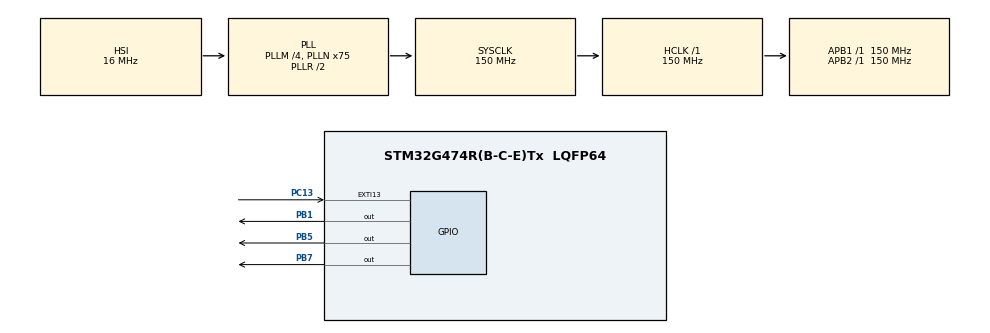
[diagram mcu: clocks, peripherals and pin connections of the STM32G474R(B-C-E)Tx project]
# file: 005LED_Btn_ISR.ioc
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Mcu.Family=STM32G4
Mcu.Name=STM32G474R(B-C-E)Tx
Mcu.Package=LQFP64
NVIC.EXTI15_10_IRQn=true\:6\:0\:true\:false\:true\:true\:true\:true
NVIC.PriorityGroup=NVIC_PRIORITYGROUP_4
NVIC.TIM6_DAC_IRQn=true\:15\:0\:false\:false\:true\:false\:true\:true
NVIC.TimeBase=TIM6_DAC_IRQn
NVIC.TimeBaseIP=TIM6
PB1.Signal=GPIO_Output
PB5.Signal=GPIO_Output
PB7.Signal=GPIO_Output
PC13.GPIO_ModeDefaultEXTI=GPIO_MODE_IT_FALLING
PC13.GPIO_PuPd=GPIO_PULLUP
PC13.Signal=GPXTI13
ProjectManager.HeapSize=0x200
ProjectManager.StackSize=0x400
ProjectManager.TargetToolchain=STM32CubeIDE
RCC.ADC12Freq_Value=150000000
RCC.ADC345Freq_Value=150000000
RCC.AHBFreq_Value=150000000
RCC.APB1Freq_Value=150000000
RCC.APB1TimFreq_Value=150000000
RCC.APB2Freq_Value=150000000
RCC.APB2TimFreq_Value=150000000
RCC.CortexFreq_Value=150000000
RCC.EXTERNAL_CLOCK_VALUE=12288000
RCC.HCLKFreq_Value=150000000
RCC.HSE_VALUE=8000000
RCC.HSI48_VALUE=48000000
RCC.HSI_VALUE=16000000
RCC.LSE_VALUE=32768
RCC.PLLM=RCC_PLLM_DIV4
RCC.PLLN=75
RCC.SYSCLKFreq_VALUE=150000000
RCC.SYSCLKSource=RCC_SYSCLKSOURCE_PLLCLK
RCC.USBFreq_Value=150000000
RCC.VCOOutputFreq_Value=300000000
VP_SYS_VS_tim6.Mode=TIM6
board=custom

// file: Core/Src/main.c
/* USER CODE BEGIN Header */
/**
  ******************************************************************************
  * @file           : main.c
  * @brief          : Main program body
  ******************************************************************************
  * @attention
  *
  * Copyright (c) 2023 STMicroelectronics.
  * All rights reserved.
  *
  * This software is licensed under terms that can be found in the LICENSE file
  * in the root directory of this software component.
  * If no LICENSE file comes with this software, it is provided AS-IS.
  *
  ******************************************************************************
  */
/* USER CODE END Header */
#include "main.h"

/* USER CODE BEGIN Includes */
#include <FreeRTOS.h>
#include <task.h>
/* USER CODE END Includes */

/* USER CODE BEGIN PTD */
#define Button 					GPIO_PIN_13
#define Button_Port				GPIOC
#define Red_Led					GPIO_PIN_5
#define Red_Led_Port			GPIOB
#define Orange_Led				GPIO_PIN_1
#define Orange_Led_Port			GPIOB
#define Green_Led				GPIO_PIN_7
#define Green_Led_Port			GPIOB
/* USER CODE END PTD */

/* USER CODE BEGIN PV */
#define DWT_CTRL	(*(volatile uint32_t*)0xE0001000)		// DWT_CTRL register
/* USER CODE END PV */

void SystemClock_Config(void);
static void MX_GPIO_Init(void);
/* USER CODE BEGIN PFP */
void button_interrupt_handler(void);
static void red_led_handler(void*);
static void orange_led_handler(void*);
static void green_led_handler(void*);

extern void SEGGER_UART_init(uint32_t);
/* USER CODE END PFP */

/* USER CODE BEGIN 0 */
TaskHandle_t red_led_handle;
TaskHandle_t orange_led_handle;
TaskHandle_t green_led_handle;

TaskHandle_t volatile next_task_handle = NULL;				// needed when we are going to delete tasks
/* USER CODE END 0 */

int main(void)
{
  /* USER CODE BEGIN 1 */
  BaseType_t status;
  /* USER CODE END 1 */

  /* MCU Configuration--------------------------------------------------------*/

  /* Reset of all peripherals, Initializes the Flash interface and the Systick. */
  HAL_Init();

  /* Configure the system clock */
  SystemClock_Config();

  /* Initialize all configured peripherals */
  MX_GPIO_Init();
  /* USER CODE BEGIN 2 */

  // SEGGER UART recording
  SEGGER_UART_init(500000);

  // Enable the CYCCNT register by setting the 0th bit
  // This is to allow the SEGGER systemview to record time stamps of events
  DWT_CTRL |= (1<<0);

  // Configure and start the SEGGER systemview recording
  SEGGER_SYSVIEW_Conf();
  //SEGGER_SYSVIEW_Start();

  // creating tasks
  status = xTaskCreate(red_led_handler, "Red Led Task", 200, NULL, 1, &red_led_handle);
  configASSERT(status == pdPASS);

  status = xTaskCreate(orange_led_handler, "Orange Led Task", 200, NULL, 2, &orange_led_handle);
  configASSERT(status == pdPASS);

  status = xTaskCreate(green_led_handler, "Green Led Task", 200, NULL, 3, &green_led_handle);
  configASSERT(status == pdPASS);

  next_task_handle = green_led_handle;

  // Start the FreeRTOS scheduler
  vTaskStartScheduler();
  /* USER CODE END 2 */

  /* Infinite loop */
  while (1)
  {

  }
}

void SystemClock_Config(void)
{
  RCC_OscInitTypeDef RCC_OscInitStruct = {0};
  RCC_ClkInitTypeDef RCC_ClkInitStruct = {0};

  /** Configure the main internal regulator output voltage
  */
  HAL_PWREx_ControlVoltageScaling(PWR_REGULATOR_VOLTAGE_SCALE1);

  /** Initializes the RCC Oscillators according to the specified parameters
  * in the RCC_OscInitTypeDef structure.
  */
  RCC_OscInitStruct.OscillatorType = RCC_OSCILLATORTYPE_HSI;
  RCC_OscInitStruct.HSIState = RCC_HSI_ON;
  RCC_OscInitStruct.HSICalibrationValue = RCC_HSICALIBRATION_DEFAULT;
  RCC_OscInitStruct.PLL.PLLState = RCC_PLL_ON;
  RCC_OscInitStruct.PLL.PLLSource = RCC_PLLSOURCE_HSI;
  RCC_OscInitStruct.PLL.PLLM = RCC_PLLM_DIV4;
  RCC_OscInitStruct.PLL.PLLN = 75;
  RCC_OscInitStruct.PLL.PLLP = RCC_PLLP_DIV2;
  RCC_OscInitStruct.PLL.PLLQ = RCC_PLLQ_DIV2;
  RCC_OscInitStruct.PLL.PLLR = RCC_PLLR_DIV2;
  if (HAL_RCC_OscConfig(&RCC_OscInitStruct) != HAL_OK)
  {
    Error_Handler();
  }

  /** Initializes the CPU, AHB and APB buses clocks
  */
  RCC_ClkInitStruct.ClockType = RCC_CLOCKTYPE_HCLK|RCC_CLOCKTYPE_SYSCLK
                              |RCC_CLOCKTYPE_PCLK1|RCC_CLOCKTYPE_PCLK2;
  RCC_ClkInitStruct.SYSCLKSource = RCC_SYSCLKSOURCE_PLLCLK;
  RCC_ClkInitStruct.AHBCLKDivider = RCC_SYSCLK_DIV1;
  RCC_ClkInitStruct.APB1CLKDivider = RCC_HCLK_DIV1;
  RCC_ClkInitStruct.APB2CLKDivider = RCC_HCLK_DIV1;

  if (HAL_RCC_ClockConfig(&RCC_ClkInitStruct, FLASH_LATENCY_4) != HAL_OK)
  {
    Error_Handler();
  }
}

static void MX_GPIO_Init(void)
{
  GPIO_InitTypeDef GPIO_InitStruct = {0};

  /* GPIO Ports Clock Enable */
  __HAL_RCC_GPIOC_CLK_ENABLE();
  __HAL_RCC_GPIOB_CLK_ENABLE();

  /*Configure GPIO pin Output Level */
  HAL_GPIO_WritePin(GPIOB, GPIO_PIN_1|GPIO_PIN_5|GPIO_PIN_7, GPIO_PIN_RESET);

  /*Configure GPIO pin : PC13 */
  GPIO_InitStruct.Pin = GPIO_PIN_13;
  GPIO_InitStruct.Mode = GPIO_MODE_IT_FALLING;
  GPIO_InitStruct.Pull = GPIO_PULLUP;
  HAL_GPIO_Init(GPIOC, &GPIO_InitStruct);

  /*Configure GPIO pins : PB1 PB5 PB7 */
  GPIO_InitStruct.Pin = GPIO_PIN_1|GPIO_PIN_5|GPIO_PIN_7;
  GPIO_InitStruct.Mode = GPIO_MODE_OUTPUT_PP;
  GPIO_InitStruct.Pull = GPIO_NOPULL;
  GPIO_InitStruct.Speed = GPIO_SPEED_FREQ_LOW;
  HAL_GPIO_Init(GPIOB, &GPIO_InitStruct);

  /* EXTI interrupt init*/
  HAL_NVIC_SetPriority(EXTI15_10_IRQn, 6, 0);
  HAL_NVIC_EnableIRQ(EXTI15_10_IRQn);

}

/* USER CODE BEGIN 4 */
void button_interrupt_handler(void)
{
	traceISR_ENTER();  // ----> This is to help SEGGER software detect the entry of an interrupt
	xTaskNotifyFromISR(next_task_handle,0,eNoAction,NULL);
	traceISR_EXIT();
}

static void red_led_handler(void* parameters)
{
	BaseType_t status;
	while(1)
	{
		SEGGER_SYSVIEW_PrintfTarget("Toggling Red LED!");
		HAL_GPIO_TogglePin(Red_Led_Port, Red_Led);
		status = xTaskNotifyWait(0,0,NULL,pdMS_TO_TICKS(400));
		if(status == pdTRUE)
		{
			// A critical section with a global variable shared between tasks
			portENTER_CRITICAL(); // ---> disables interrupts of the system
			next_task_handle = NULL;
			HAL_GPIO_WritePin(Red_Led_Port,Red_Led,GPIO_PIN_SET);
			SEGGER_SYSVIEW_PrintfTarget("Deleting Red LED task!");
			portEXIT_CRITICAL();
			vTaskDelete(NULL);
		}
	}
}

static void orange_led_handler(void* parameters)
{
	BaseType_t status;
	while(1)
	{
		SEGGER_SYSVIEW_PrintfTarget("Toggling Orange LED!");
		HAL_GPIO_TogglePin(Orange_Led_Port, Orange_Led);
		status = xTaskNotifyWait(0,0,NULL,pdMS_TO_TICKS(800));
		if(status == pdTRUE)
		{
			// A critical section with a global variable shared between tasks
			portENTER_CRITICAL(); // ---> disables interrupts of the system
			next_task_handle = red_led_handle;
			HAL_GPIO_WritePin(Orange_Led_Port,Orange_Led,GPIO_PIN_SET);
			SEGGER_SYSVIEW_PrintfTarget("Deleting Orange LED task!");
			portEXIT_CRITICAL();
			vTaskDelete(NULL);
		}
	}
}

static void green_led_handler(void* parameters)
{
	BaseType_t status;
	while(1)
	{
		SEGGER_SYSVIEW_PrintfTarget("Toggling Green LED!");
		HAL_GPIO_TogglePin(Green_Led_Port, Green_Led);
		status = xTaskNotifyWait(0,0,NULL,pdMS_TO_TICKS(1000));
		if(status == pdTRUE)
		{
			// A critical section with a global variable shared between tasks
			portENTER_CRITICAL(); // ---> disables interrupts of the system
			next_task_handle = orange_led_handle;
			HAL_GPIO_WritePin(Green_Led_Port,Green_Led,GPIO_PIN_SET);
			SEGGER_SYSVIEW_PrintfTarget("Deleting Green LED task!");
			portEXIT_CRITICAL();
			vTaskDelete(NULL);
		}
	}
}

/* USER CODE END 4 */

void HAL_TIM_PeriodElapsedCallback(TIM_HandleTypeDef *htim)
{
  if (htim->Instance == TIM6) {
    HAL_IncTick();
  }
}

void Error_Handler(void)
{
  __disable_irq();
  while (1)
  {
  }
}
